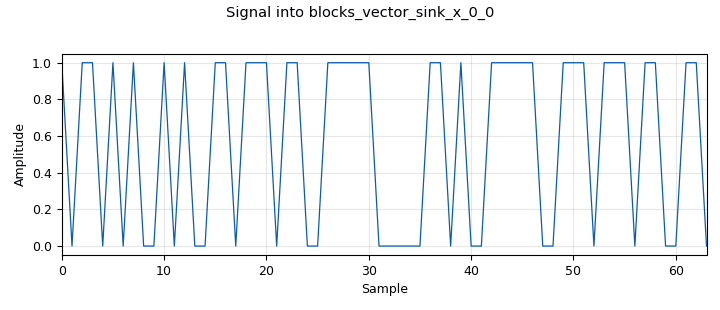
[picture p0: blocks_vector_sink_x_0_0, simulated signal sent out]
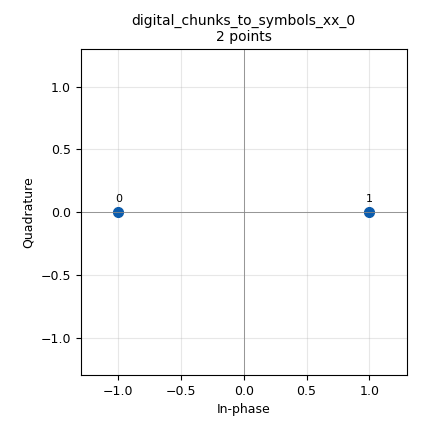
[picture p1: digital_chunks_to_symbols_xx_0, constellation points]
options:
  parameters:
    author: grigosback
    generate_options: no_gui
    id: bercurve_generator
    output_language: python
    title: BER Curve Generator
  states: {}

blocks:
- name: bps
  id: variable
  parameters:
    value: const.bits_per_symbol()
  states: {}
- name: const
  id: variable_constellation
  parameters:
    precision: '8'
    type: bpsk
  states: {}
- name: packet_len
  id: variable
  parameters:
    value: '1'
  states: {}
- name: samp_rate
  id: variable
  parameters:
    value: '32000'
  states: {}
- name: analog_random_source_x_0
  id: analog_random_source_x
  parameters:
    max: const.arity()
    min: '0'
    num_samps: int(1e2)
    repeat: 'False'
    type: byte
  states: {}
- name: beamforming_beamformer_py_cc_0
  id: beamforming_beamformer_py_cc
  parameters:
    fc: fc
    inputs_per_angle: 8*128
    mx: mx
    my: my
    phi_start: '0'
    theta_start: '0'
  states: {}
- name: beamforming_doaesprit_py_cf_0
  id: beamforming_doaesprit_py_cf
  parameters:
    decimation: '128'
    fc: fc
    mx: mx
    my: my
    n: n
  states: {}
- name: beamforming_phasedarray_py_cc_0
  id: beamforming_phasedarray_py_cc
  parameters:
    fc: fc
    mx: mx
    my: my
    noise: noise
    phi: phi
    theta: theta
  states: {}
- name: beamforming_randomsampler_py_cc_0_0
  id: beamforming_randomsampler_py_cc
  parameters:
    decimation: '8'
    vlen: mx*my
  states: {}
- name: blocks_packed_to_unpacked_xx_0
  id: blocks_packed_to_unpacked_xx
  parameters:
    bits_per_chunk: bps
    endianness: gr.GR_MSB_FIRST
    type: byte
  states: {}
- name: blocks_unpacked_to_packed_xx_0
  id: blocks_unpacked_to_packed_xx
  parameters:
    bits_per_chunk: bps
    endianness: gr.GR_MSB_FIRST
    type: byte
  states: {}
- name: blocks_vector_sink_x_0
  id: blocks_vector_sink_x
  parameters:
    reserve_items: '128'
    type: byte
  states: {}
- name: blocks_vector_sink_x_0_0
  id: blocks_vector_sink_x
  parameters:
    reserve_items: '128'
    type: byte
  states: {}
- name: blocks_vector_sink_x_0_1
  id: blocks_vector_sink_x
  parameters:
    reserve_items: '128'
    type: float
  states: {}
- name: digital_chunks_to_symbols_xx_0
  id: digital_chunks_to_symbols_xx
  parameters:
    dimension: '1'
    in_type: byte
    out_type: complex
    symbol_table: const.points()
  states: {}
- name: digital_constellation_decoder_cb_0
  id: digital_constellation_decoder_cb
  parameters:
    constellation: const.base()
  states: {}
- name: fc
  id: parameter
  parameters:
    label: Carrier frequency
    type: eng_float
    value: 436e6
  states: {}
- name: fec_ber_bf_0
  id: fec_ber_bf
  parameters:
    test_mode: 'False'
  states: {}
- name: mx
  id: parameter
  parameters:
    label: '# elements in x'
    type: intx
    value: '4'
  states: {}
- name: my
  id: parameter
  parameters:
    label: '# elements in y'
    type: intx
    value: '4'
  states: {}
- name: n
  id: parameter
  parameters:
    label: '# impinging signals'
    type: intx
    value: '1'
  states: {}
- name: noise
  id: parameter
  parameters:
    label: Noise Voltage
    value: '0'
  states: {}
- name: phi
  id: parameter
  parameters:
    label: Azimut Angle
    value: '50'
  states: {}
- name: theta
  id: parameter
  parameters:
    label: Elevation Angle
    value: '45'
  states: {}
- name: virtual_sink_0
  id: virtual_sink
  parameters:
    stream_id: channel
  states: {}
- name: virtual_source_0
  id: virtual_source
  parameters:
    stream_id: channel
  states: {}

connections:
- [analog_random_source_x_0, '0', blocks_packed_to_unpacked_xx_0, '0']
- [analog_random_source_x_0, '0', blocks_vector_sink_x_0_0, '0']
- [analog_random_source_x_0, '0', fec_ber_bf_0, '0']
- [beamforming_beamformer_py_cc_0, '0', digital_constellation_decoder_cb_0, '0']
- [beamforming_doaesprit_py_cf_0, '0', beamforming_beamformer_py_cc_0, '1']
- [beamforming_doaesprit_py_cf_0, '1', beamforming_beamformer_py_cc_0, '2']
- [beamforming_phasedarray_py_cc_0, '0', beamforming_beamformer_py_cc_0, '0']
- [beamforming_phasedarray_py_cc_0, '0', beamforming_randomsampler_py_cc_0_0, '0']
- [beamforming_randomsampler_py_cc_0_0, '0', beamforming_doaesprit_py_cf_0, '0']
- [blocks_packed_to_unpacked_xx_0, '0', digital_chunks_to_symbols_xx_0, '0']
- [blocks_unpacked_to_packed_xx_0, '0', blocks_vector_sink_x_0, '0']
- [blocks_unpacked_to_packed_xx_0, '0', fec_ber_bf_0, '1']
- [digital_chunks_to_symbols_xx_0, '0', virtual_sink_0, '0']
- [digital_constellation_decoder_cb_0, '0', blocks_unpacked_to_packed_xx_0, '0']
- [fec_ber_bf_0, '0', blocks_vector_sink_x_0_1, '0']
- [virtual_source_0, '0', beamforming_phasedarray_py_cc_0, '0']

metadata:
  file_format: 1
